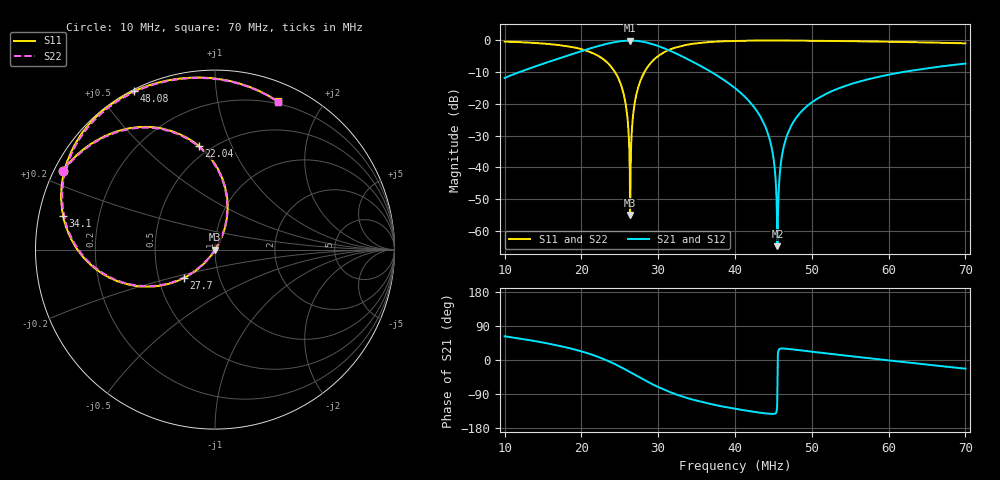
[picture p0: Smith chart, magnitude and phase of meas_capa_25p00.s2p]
#  HZ  S  RI  R  50.00
! Rohde & Schwarz ZVT8 8Ports - Version 4.11 - 1300.0000k08 SN: 100242
! Date: 2026-07-13 13:50:27
! Measurements: S11 S21 S12 S22
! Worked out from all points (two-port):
!   3001 points, 10 MHz to 70 MHz, reference 50 ohm
!   highest |S21| = -0.08 dB at 26.36 MHz (marker M1); lowest = -64.8 dB at 45.52 MHz (marker M2)
!   |S21| within 3 dB of the highest: 20.44 MHz to 31.35 MHz (10.9 MHz wide, 42.1 % of centre)
!   lowest |S11| = -55.0 dB at 26.34 MHz (marker M3), VSWR 1.00, Z = 50.2 + j0.0536 ohm
!   |S11| at or under -10 dB: 24.37 MHz to 28.2 MHz (3.829 MHz wide, 14.6 % of centre)
!   |S22| runs from -56.4 to -0.1 dB; largest |S21 - S12| = 0.0015
!   S11 on the Smith chart (normalised r, x): 10 MHz: 0.02, +0.24; 22.04 MHz: 0.43, +0.76; 27.7 MHz: 0.68, -0.23; 34.1 MHz: 0.07, +0.11; 48.08 MHz: 0.01, +0.61; 70 MHz: 0.18, +1.49
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1e7  -0.8467 0.4407  0.1183 0.2274  0.1186 0.2272  -0.8445 0.4378
2e7  -0.2779 0.6707  0.6228 0.2606  0.6221 0.2601  -0.2781 0.6676
2.204e7  -0.0891 0.5765  0.7919 0.1288  0.7913 0.1285  -0.0905 0.5733
2.512e7  0.0683 0.1925  0.9192 -0.3094  0.9179 -0.3095  0.0665 0.1928
2.576e7  0.0451 0.0899  0.8899 -0.4246  0.8889 -0.4242  0.0435 0.0906
2.614e7  0.0191 0.0304  0.8598 -0.4909  0.8594 -0.4908  0.0173 0.0319
2.634e7  0.0017 0.000535  0.8405 -0.5247  0.8402 -0.5243  0.000739 0.00192
2.636e7  -0.000216 -0.00287  0.8386 -0.5285  0.8379 -0.5272  -0.00137 -0.000649
2.656e7  -0.0195 -0.0314  0.8164 -0.5603  0.8161 -0.5594  -0.0211 -0.0291
2.696e7  -0.0667 -0.0827  0.7656 -0.6197  0.7653 -0.6194  -0.0674 -0.0806
2.77e7  -0.1722 -0.1576  0.6525 -0.708  0.652 -0.708  -0.1711 -0.1546
3e7  -0.538 -0.1784  0.2594 -0.7706  0.2599 -0.7712  -0.5348 -0.1749
3.41e7  -0.8458 0.1872  -0.1036 -0.4767  -0.1037 -0.4763  -0.8408 0.1881
4e7  -0.7626 0.6159  -0.1108 -0.1383  -0.111 -0.1382  -0.7567 0.6135
4.406e7  -0.6133 0.7835  -0.0317 -0.0256  -0.0317 -0.0255  -0.6083 0.7795
4.488e7  -0.5808 0.8084  -0.0139 -0.0107  -0.0139 -0.0106  -0.5759 0.8044
4.552e7  -0.5545 0.8261  0.000127 -0.000564  0.000113 -0.000566  -0.5503 0.8222
4.642e7  -0.5179 0.8487  0.0199 0.0116  0.0199 0.0115  -0.5139 0.8447
4.808e7  -0.4497 0.883  0.0565 0.0282  0.0564 0.0282  -0.4471 0.8797
5e7  -0.3718 0.9133  0.098 0.0396  0.0979 0.0395  -0.3692 0.9104
6e7  0.0198 0.9506  0.2878 -0.00502  0.2875 -0.00522  0.0221 0.9478
7e7  0.3485 0.8262  0.3962 -0.1675  0.3963 -0.1674  0.3515 0.8238
